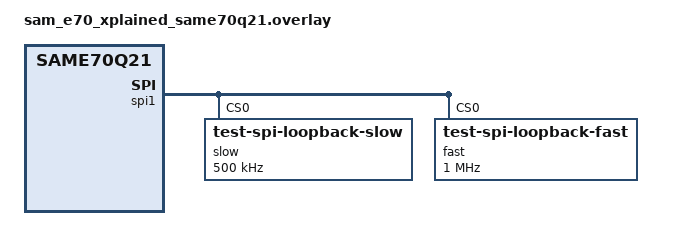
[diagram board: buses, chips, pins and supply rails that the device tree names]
/*
 * Copyright (c) 2024 The Zephyr Project Contributors
 *
 * SPDX-License-Identifier: Apache-2.0
 */

#define SPI_LOOPBACK_FAST_HZ 1000000

spi_loopback: &spi0 {
	loopback;
	dmas = <&xdmac 1 DMA_PERID_SPI0_TX>, <&xdmac 2 DMA_PERID_SPI0_RX>;
	dma-names = "tx", "rx";
};

&spi1 {
	loopback;
	dmas = <&xdmac 3 DMA_PERID_SPI1_TX>, <&xdmac 4 DMA_PERID_SPI1_RX>;
	dma-names = "tx", "rx";

	slow@0 {
		compatible = "test-spi-loopback-slow";
		reg = <0>;
		spi-max-frequency = <500000>;
	};

	fast@0 {
		compatible = "test-spi-loopback-fast";
		reg = <0>;
		spi-max-frequency = <1000000>;
	};
};

#include "../spi-loopback.dtsi"
